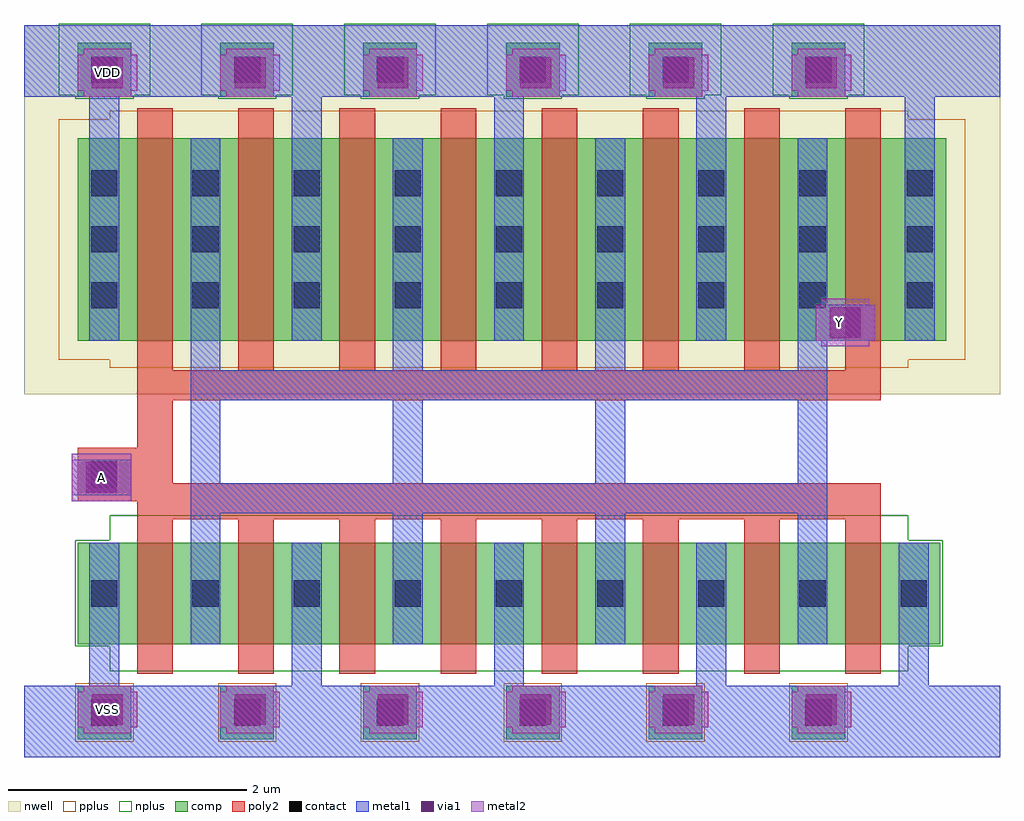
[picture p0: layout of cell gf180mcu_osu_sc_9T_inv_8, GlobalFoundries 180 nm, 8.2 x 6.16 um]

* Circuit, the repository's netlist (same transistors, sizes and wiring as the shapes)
* Copyright 2022 Google LLC
*
* Licensed under the Apache License, Version 2.0 (the "License");
* you may not use this file except in compliance with the License.
* You may obtain a copy of the License at
*
*      http://www.apache.org/licenses/LICENSE-2.0
*
* Unless required by applicable law or agreed to in writing, software
* distributed under the License is distributed on an "AS IS" BASIS,
* WITHOUT WARRANTIES OR CONDITIONS OF ANY KIND, either express or implied.
* See the License for the specific language governing permissions and
* limitations under the License.

.option scale=0.05u

.subckt gf180mcu_osu_sc_9T_inv_8 A Y
X0 VDD A Y VDD pmos_3p3 w=34 l=6
X1 VDD A Y VDD pmos_3p3 w=34 l=6
X2 VSS A Y VSS nmos_3p3 w=17 l=6
X3 Y A VSS VSS nmos_3p3 w=17 l=6
X4 Y A VSS VSS nmos_3p3 w=17 l=6
X5 VDD A Y VDD pmos_3p3 w=34 l=6
X6 Y A VSS VSS nmos_3p3 w=17 l=6
X7 Y A VDD VDD pmos_3p3 w=34 l=6
X8 Y A VDD VDD pmos_3p3 w=34 l=6
X9 Y A VDD VDD pmos_3p3 w=34 l=6
X10 Y A VSS VSS nmos_3p3 w=17 l=6
X11 VSS A Y VSS nmos_3p3 w=17 l=6
X12 Y A VDD VDD pmos_3p3 w=34 l=6
X13 VSS A Y VSS nmos_3p3 w=17 l=6
X14 VSS A Y VSS nmos_3p3 w=17 l=6
X15 VDD A Y VDD pmos_3p3 w=34 l=6
.ends

** hspice subcircuit dictionary

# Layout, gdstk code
import gdstk
lib = gdstk.Library(unit=1e-6, precision=1e-09)
def R(c, l, rs):  # rectangles x0, y0, x1, y1
    for r in rs: c.add(gdstk.rectangle(r[:2], r[2:], *l))
def A(c, l, x, y, w, h, nx, ny, dx, dy):  # array of equal rectangles
    R(c, l, [(x+i*dx, y+j*dy, x+i*dx+w, y+j*dy+h) for i in range(nx) for j in range(ny)])
nwell = (21, 0)
comp = (22, 0)
poly2 = (30, 0)
pplus = (31, 0)
nplus = (32, 0)
contact = (33, 0)
metal1 = (34, 0)
via1 = (35, 0)
metal2 = (36, 0)

gf180mcu_osu_sc_9t_inv_8 = lib.new_cell('gf180mcu_osu_sc_9T_inv_8')
R(gf180mcu_osu_sc_9t_inv_8, nwell, [(0,3.05,8.2,6.15)])
A(gf180mcu_osu_sc_9t_inv_8, comp, 0.45, 0.15, 0.45, 0.45, 6, 2, 1.2, 5.4)
R(gf180mcu_osu_sc_9t_inv_8, comp, [(0.45,0.95,7.7,1.8), (0.45,3.5,7.75,5.2)])
A(gf180mcu_osu_sc_9t_inv_8, poly2, 0.95, 0.7, 0.3, 1.3, 8, 1, 0.85, 0)
A(gf180mcu_osu_sc_9t_inv_8, poly2, 0.95, 3.25, 0.3, 2.2, 8, 1, 0.85, 0)
R(gf180mcu_osu_sc_9t_inv_8, poly2, [(0.95,2,7.2,2.15), (0.45,2.15,7.2,2.3), (0.45,2.3,1.25,2.6), (0.95,2.6,1.25,3), (0.95,3,7.2,3.25)])
A(gf180mcu_osu_sc_9t_inv_8, pplus, 0.43, 0.13, 0.49, 0.49, 6, 1, 1.2, 0)
R(gf180mcu_osu_sc_9t_inv_8, pplus, [(0.72,3.27,7.43,3.34), (0.29,3.34,7.91,5.36), (0.72,5.36,7.43,5.43)])
A(gf180mcu_osu_sc_9t_inv_8, nplus, 0.43, 5.53, 0.49, 0.03, 6, 1, 1.2, 0)
A(gf180mcu_osu_sc_9t_inv_8, nplus, 0.29, 5.56, 0.77, 0.6, 6, 1, 1.2, 0)
R(gf180mcu_osu_sc_9t_inv_8, nplus, [(0.72,0.72,7.43,0.93), (0.43,0.93,7.72,1.82), (0.72,1.82,7.43,2.03)])
A(gf180mcu_osu_sc_9t_inv_8, contact, 0.565, 0.265, 0.22, 0.22, 6, 2, 1.2, 5.4)
A(gf180mcu_osu_sc_9t_inv_8, contact, 0.565, 1.265, 0.22, 0.22, 9, 1, 0.85, 0)
A(gf180mcu_osu_sc_9t_inv_8, contact, 0.565, 3.77, 0.22, 0.22, 8, 3, 0.85, 0.47)
A(gf180mcu_osu_sc_9t_inv_8, contact, 7.415, 3.77, 0.22, 0.22, 1, 3, 0, 0.47)
R(gf180mcu_osu_sc_9t_inv_8, contact, [(0.565,2.265,0.785,2.485)])
A(gf180mcu_osu_sc_9t_inv_8, metal1, 0.55, 0.6, 0.25, 1.2, 5, 1, 1.7, 0)
A(gf180mcu_osu_sc_9t_inv_8, metal1, 1.4, 0.95, 0.25, 1.1, 4, 1, 1.7, 0)
A(gf180mcu_osu_sc_9t_inv_8, metal1, 1.4, 2.3, 0.25, 0.7, 4, 1, 1.7, 0)
A(gf180mcu_osu_sc_9t_inv_8, metal1, 1.4, 3.25, 0.25, 1.95, 3, 1, 1.7, 0)
A(gf180mcu_osu_sc_9t_inv_8, metal1, 0.55, 3.5, 0.25, 2.05, 4, 1, 1.7, 0)
R(gf180mcu_osu_sc_9t_inv_8, metal1, [(0,0,8.2,0.6), (1.4,2.05,6.75,2.3), (0.4,2.2,0.9,2.5), (1.4,3,6.75,3.25), (6.5,3.25,6.75,3.5), (6.5,3.5,7.15,3.8), (7.4,3.5,7.65,5.55), (6.5,3.8,6.75,5.2), (0,5.55,8.2,6.15)])
A(gf180mcu_osu_sc_9t_inv_8, via1, 0.57, 0.27, 0.26, 0.26, 6, 2, 1.2, 5.35)
R(gf180mcu_osu_sc_9t_inv_8, via1, [(0.52,2.22,0.78,2.48), (6.77,3.52,7.03,3.78)])
A(gf180mcu_osu_sc_9t_inv_8, metal2, 0.5, 0.2, 0.4, 0.05, 6, 2, 1.2, 0.35)
A(gf180mcu_osu_sc_9t_inv_8, metal2, 0.45, 0.25, 0.5, 0.3, 6, 2, 1.2, 5.35)
A(gf180mcu_osu_sc_9t_inv_8, metal2, 0.5, 5.55, 0.4, 0.05, 6, 2, 1.2, 0.35)
R(gf180mcu_osu_sc_9t_inv_8, metal2, [(0.4,2.15,0.9,2.55), (6.7,3.45,7.1,3.5), (6.65,3.5,7.15,3.8), (6.7,3.8,7.1,3.85)])
gf180mcu_osu_sc_9t_inv_8.add(gdstk.Label('VDD', (0.7,5.75), layer=36, texttype=0))
gf180mcu_osu_sc_9t_inv_8.add(gdstk.Label('VSS', (0.7,0.4), layer=36, texttype=0))
gf180mcu_osu_sc_9t_inv_8.add(gdstk.Label('A', (0.65,2.35), layer=36, texttype=10))
gf180mcu_osu_sc_9t_inv_8.add(gdstk.Label('Y', (6.85,3.65), layer=36, texttype=10))

lib.write_gds('gf180mcu_osu_sc_9T_inv_8.gds')
